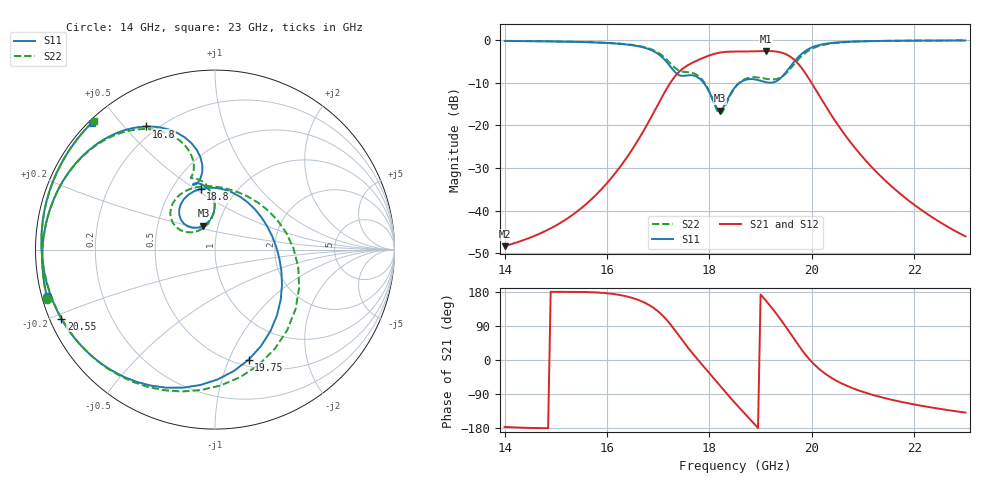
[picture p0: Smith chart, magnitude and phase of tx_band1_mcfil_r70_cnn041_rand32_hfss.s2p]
! Touchstone file exported from HFSS 3D Layout Design 2026.1.0
!  File:  D:/Work/SIM/ADS_AUTO_SIM/projects/RFSOC_RF/TX_Fillter.aedt
!  Generated:  07:34:28 AM Aug 31, 2026
!  Design:  TX_BAND1_MCFIL_R70_CNN041
!  Project:  TX_Fillter
# GHz S MA R 50.000000
! Terminal data exported
! Port[1] = Port1
! Port[2] = Port2
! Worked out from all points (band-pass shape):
!   181 points, 14 GHz to 23 GHz, reference 50 ohm
!   highest |S21| = -2.60 dB at 19.1 GHz (marker M1); lowest = -48.3 dB at 14 GHz (marker M2)
!   |S21| within 3 dB of the highest: 17.63 GHz to 19.73 GHz (2.105 GHz wide, 11.3 % of centre)
!   lowest |S11| = -16.6 dB at 18.2 GHz (marker M3), VSWR 1.35, Z = 42.5 + j11.6 ohm
!   |S11| at or under -10 dB: 17.88 GHz to 18.6 GHz (713.6 MHz wide, 3.91 % of centre); 19.14846 GHz to 19.21727 GHz (68.82 MHz wide, 0.359 % of centre)
!   |S22| runs from -17.3 to -0.1 dB; largest |S21 - S12| = 1.2e-14
!   S11 on the Smith chart (normalised r, x): 14 GHz: 0.01, -0.14; 16.8 GHz: 0.16, +0.57; 18.8 GHz: 0.69, +0.53; 19.75 GHz: 0.57, -1.18; 20.55 GHz: 0.03, -0.21; 23 GHz: 0.01, +0.42
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14  0.9725 -164.4  0.003845 -176.5  0.003845 -176.5  0.9733 -163.5
15.5  0.9444 164.9  0.01074 179.6  0.01074 179.6  0.9467 166.6
16.25  0.899 143.2  0.03229 171.5  0.03229 171.5  0.9043 145.8
16.8  0.7861 119.2  0.1061 146.7  0.1061 146.7  0.8007 123.3
17  0.6832 107.9  0.1768 128.0  0.1768 128.0  0.7073 112.9
17.25  0.477 98.5  0.3226 92.1  0.3226 92.1  0.5223 103.8
17.5  0.3791 108.3  0.4703 46.9  0.4703 46.9  0.4222 108.7
17.85  0.3346 95.7  0.6062 -11.1  0.6062 -11.1  0.347 95.6
18  0.2443 90.3  0.6578 -35.0  0.6578 -35.0  0.2476 90.3
18.2  0.1479 115.7  0.7088 -67.0  0.7088 -67.0  0.1362 118.8
18.5  0.2784 135.7  0.7305 -113.4  0.7305 -113.4  0.2771 147.7
18.8  0.3477 103.2  0.733 -157.2  0.733 -157.2  0.363 122.9
19.1  0.32 54.9  0.7413 157.2  0.7413 157.2  0.351 89.7
19.3  0.3265 13.8  0.7306 123.5  0.7306 123.5  0.3474 58.4
19.45  0.388 -17.7  0.6965 95.9  0.6965 95.9  0.3834 25.8
19.6  0.5031 -46.6  0.6242 66.4  0.6242 66.4  0.4739 -11.9
19.75  0.6412 -73.0  0.512 37.0  0.512 37.0  0.603 -48.2
20  0.8153 -109.3  0.3101 -5.1  0.3101 -5.1  0.7865 -95.7
20.25  0.8972 -134.8  0.1756 -35.0  0.1756 -35.0  0.8806 -127.0
20.55  0.9388 -155.8  0.09319 -59.6  0.09319 -59.6  0.9305 -151.5
21.5  0.9753 166.6  0.02073 -103.0  0.02073 -103.0  0.9742 167.3
23  0.9847 134.0  0.005 -138.8  0.005 -138.8  0.9848 133.4
